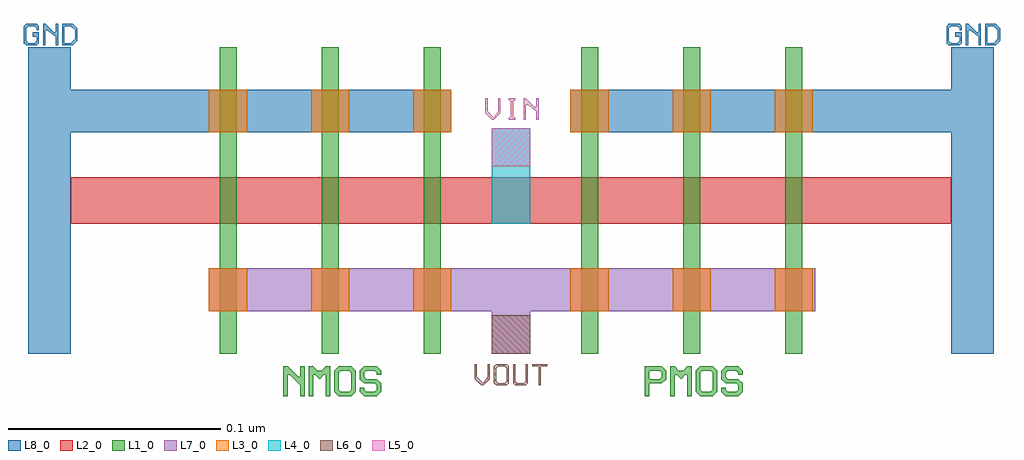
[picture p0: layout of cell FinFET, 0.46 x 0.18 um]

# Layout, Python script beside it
import pya

layout = pya.Layout()
finfet = layout.create_cell("FinFET")

# Fin Layer
l1 = layout.layer(1,0)
finfet.shapes(l1).insert(pya.Box(0, 0, 8, 144))  ## NMOS
finfet.shapes(l1).insert(pya.Box(48, 0, 56, 144))
finfet.shapes(l1).insert(pya.Box(96, 0, 104, 144))

finfet.shapes(l1).insert(pya.Box(170, 0, 178, 144))  ## PMOS
finfet.shapes(l1).insert(pya.Box(218, 0, 226, 144))
finfet.shapes(l1).insert(pya.Box(266, 0, 274, 144))

# Gate Layer
l2 = layout.layer(2,0)
finfet.shapes(l2).insert(pya.Box(-70, 61, 344, 83))

# Contact Layer
l3 = layout.layer(3,0)
finfet.shapes(l3).insert(pya.Box(-5, 20, 13, 40)) ## NMOS Drain Contact
finfet.shapes(l3).insert(pya.Box(43, 20, 61, 40))
finfet.shapes(l3).insert(pya.Box(91, 20, 109, 40))

finfet.shapes(l3).insert(pya.Box(165, 20, 183, 40)) ## PMOS Drain Contact
finfet.shapes(l3).insert(pya.Box(213, 20, 231, 40))
finfet.shapes(l3).insert(pya.Box(261, 20, 279, 40))

finfet.shapes(l3).insert(pya.Box(-5, 104, 13, 124)) ## NMOS Source Contact
finfet.shapes(l3).insert(pya.Box(43, 104, 61, 124))
finfet.shapes(l3).insert(pya.Box(91, 104, 109, 124))

finfet.shapes(l3).insert(pya.Box(165, 104, 183, 124)) ## PMOS Source Contact
finfet.shapes(l3).insert(pya.Box(213, 104, 231, 124))
finfet.shapes(l3).insert(pya.Box(261, 104, 279, 124))

# Gate Interconnection Layer
l4 = layout.layer(4,0)
finfet.shapes(l4).insert(pya.Box(128, 61, 146, 106))

# Vin Via Layer 
l5 = layout.layer(5,0)
finfet.shapes(l5).insert(pya.Box(128, 88, 146, 106))

# Vout Via Layer    
l6 = layout.layer(6,0)
finfet.shapes(l6).insert(pya.Box(128, 0, 146, 18))

# Drain Interconnection Layer
l7 = layout.layer(7,0)
finfet.shapes(l7).insert(pya.Box(-5, 20, 280, 40))
finfet.shapes(l7).insert(pya.Box(128, 0, 146, 40))

# GND Interconnection Layer 
l8 = layout.layer(8,0)
finfet.shapes(l8).insert(pya.Box(-70, 104, 109, 124)) ## NMOS GND
finfet.shapes(l8).insert(pya.Box(-90, 0, -70, 144))

finfet.shapes(l8).insert(pya.Box(165, 104, 344, 124)) ## PMOS GND
finfet.shapes(l8).insert(pya.Box(344, 0, 364, 144))

# Insert Text
gen = pya.TextGenerator

t1 = gen.default_generator().text("NMOS", 0.05) ## NMOS
t1.transform(pya.Trans(pya.Point(30, -20)))
finfet.shapes(l1).insert(t1)

t2 = gen.default_generator().text("PMOS", 0.05) ## PMOS
t2.transform(pya.Trans(pya.Point(200, -20)))
finfet.shapes(l1).insert(t2)

t3 = gen.default_generator().text("VIN", 0.07) ## VIN
t3.transform(pya.Trans(pya.Point(125, 110)))
finfet.shapes(l5).insert(t3)

t4 = gen.default_generator().text("VOUT", 0.07) ## VOUT
t4.transform(pya.Trans(pya.Point(120, -15)))
finfet.shapes(l6).insert(t4)

t5 = gen.default_generator().text("GND", 0.07) ## VOUT
t5.transform(pya.Trans(pya.Point(-92, 145)))
finfet.shapes(l8).insert(t5)

t6 = gen.default_generator().text("GND", 0.07) ## VOUT
t6.transform(pya.Trans(pya.Point(342, 145)))
finfet.shapes(l8).insert(t6)


layout.write("finfet_inv.gds")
